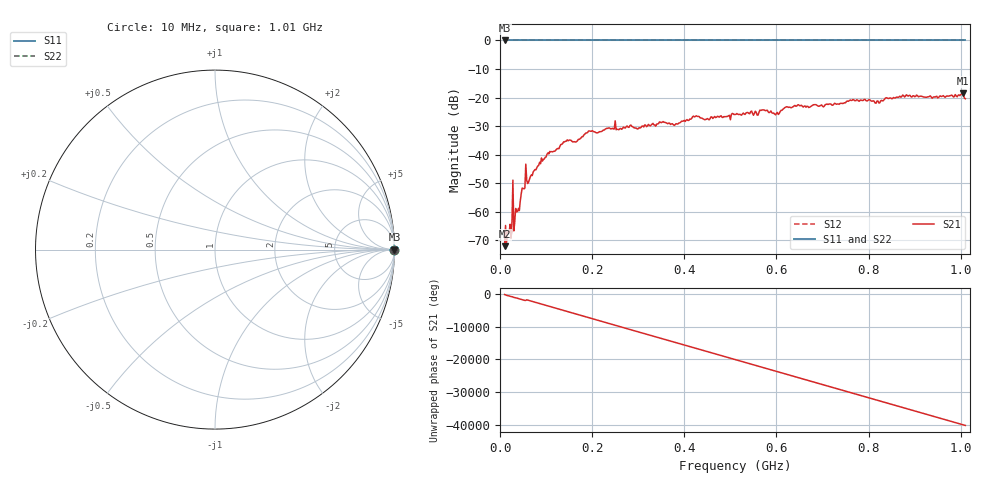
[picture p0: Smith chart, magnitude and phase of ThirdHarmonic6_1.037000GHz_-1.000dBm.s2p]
! 8/16/2025 8:57:19 AM
! C:\ANRITSUVNA\TEMP\TEMP.S2P
! CHANNEL.1
! TR.MEASUREMENT
! RAW.DATA
! RF.CORRECTION.OFF
! AVERAGING.OFF
! IF.BANDWIDTH: 5KHZ
! SWEEPTYPE:  FREQ.SWEEP(Linear)
! Reference Plane Port Info
! PORT:  PORT1  PORT2
! DISTANCE:  0  m  0  m
! TIME:  0  s  0  s
! PHASE.OFFSET:  0  deg.  0  deg.
! LOSS:  0  dB  0  dB
! REF.LOSS:  0  dB  0  dB
! REF.FREQ:  0  Hz  0  Hz
! Power Info
! POWER:  -20  dBm  -20  dBm
! EFF.POWER:  -20  dBm  -20  dBm
! SOURCE.ATTEN:  0  dB  0  dB
! TEST.ATTEN:  0  dB  0  dB
# GHZ S RI R 50.0
! FREQ.GHZ  S11RE  S11IM  S21RE  S21IM  S12RE  S12IM  S22RE  S22IM
!; PortSelection: Port_12
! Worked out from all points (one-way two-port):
!   501 points, 10 MHz to 1.01 GHz, reference 50 ohm
!   highest |S21| = -18.56 dB at 1.004 GHz (marker M1); lowest = -72.0 dB at 10 MHz (marker M2)
!   lowest |S11| = 0.0 dB at 10 MHz (marker M3)
!   |S11| at or under -10 dB: nowhere
!   |S22| runs from 0.0 to 0.0 dB; largest |S21 - S12| = 1.1
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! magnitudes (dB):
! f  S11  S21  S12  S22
! 10 MHz  0.0  -72.0  0.0  0.0
! 22 MHz  0.0  -64.4  0.0  0.0
! 24 MHz  0.0  -69.3  0.0  0.0
! 28 MHz  0.0  -48.9  0.0  0.0
! 30 MHz  0.0  -66.7  0.0  0.0
! 32 MHz  0.0  -63.5  0.0  0.0
! 34 MHz  0.0  -58.8  0.0  0.0
! 52 MHz  0.0  -52.0  0.0  0.0
! 60 MHz  0.0  -50.1  0.0  0.0
! 106 MHz  0.0  -39.7  0.0  0.0
! 142 MHz  0.0  -35.3  0.0  0.0
! 178 MHz  0.0  -33.7  0.0  0.0
! 196 MHz  0.0  -31.7  0.0  0.0
! 344 MHz  0.0  -29.1  0.0  0.0
! 510 MHz  0.0  -25.9  0.0  0.0
! 568 MHz  0.0  -24.4  0.0  0.0
! 600 MHz  0.0  -25.6  0.0  0.0
! 620 MHz  0.0  -23.4  0.0  0.0
! 678 MHz  0.0  -22.7  0.0  0.0
! 844 MHz  0.0  -20.3  0.0  0.0
! 1.004 GHz  0.0  -18.6  0.0  0.0
! 1.01 GHz  0.0  -20.4  0.0  0.0
